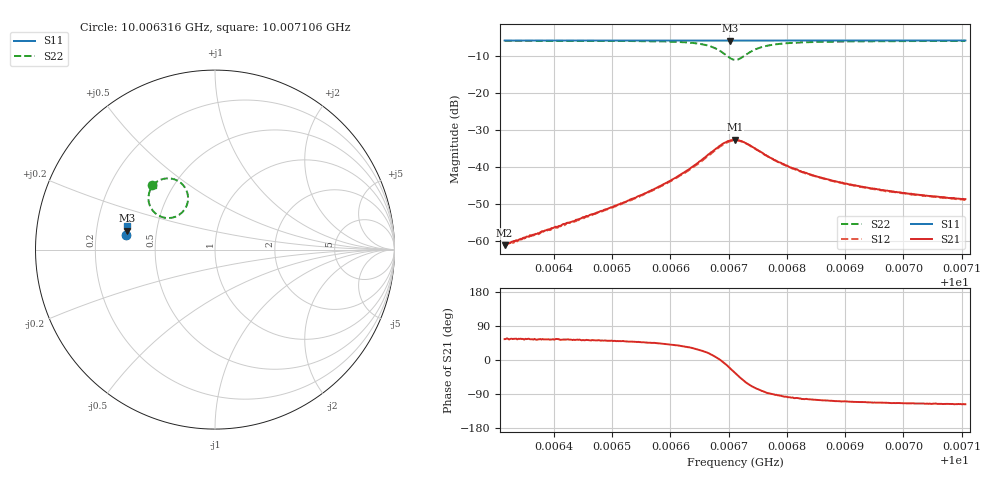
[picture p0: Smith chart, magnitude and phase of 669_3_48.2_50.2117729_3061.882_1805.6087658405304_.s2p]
#  HZ  S  RI  R  50.00
! Rohde & Schwarz Vector Network Analyzer
! Rohde-Schwarz,ZNB20-2Port,1311601062101988,3.16
! Created: UTC 3/20/2024, 12:06:04 PM
! freq[Hz]  re:S11  im:S11  re:S21  im:S21  re:S12  im:S12  re:S22  im:S22
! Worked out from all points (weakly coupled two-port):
!   401 points, 10.006316 GHz to 10.007106 GHz, reference 50 ohm
!   highest |S21| = -32.70 dB at 10.006711 GHz (marker M1); lowest = -61.2 dB at 10.006316 GHz (marker M2)
!   lowest |S11| = -6.0 dB at 10.006703 GHz (marker M3), VSWR 3.02, Z = 16.7 + j4.7 ohm
!   |S11| at or under -10 dB: nowhere
!   |S22| runs from -11.2 to -6.0 dB; largest |S21 - S12| = 0.0019
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1.00063156e10  -0.4974 0.0803  0.000501 0.000718  0.00046 0.000721  -0.3494 0.3575
1.00063314e10  -0.4974 0.0816  0.000562 0.000831  0.00049 0.000818  -0.3482 0.3589
1.0006448e10  -0.4961 0.0891  0.00127 0.00163  0.00114 0.00169  -0.3349 0.3704
1.00065212e10  -0.4953 0.0939  0.00218 0.00254  0.00204 0.00261  -0.3205 0.3804
1.00065805e10  -0.4947 0.098  0.00392 0.00377  0.00363 0.00388  -0.2989 0.3905
1.0006622e10  -0.4939 0.1008  0.0067 0.00486  0.00622 0.00509  -0.2686 0.3968
1.00066596e10  -0.493 0.1034  0.0125 0.00492  0.0119 0.00543  -0.2131 0.3861
1.00066813e10  -0.4918 0.1045  0.0182 0.00143  0.0176 0.0025  -0.166 0.3432
1.00066932e10  -0.4915 0.1049  0.0209 -0.00322  0.0204 -0.00175  -0.1505 0.2945
1.00067031e10  -0.4911 0.1049  0.021 -0.00882  0.0211 -0.00691  -0.1587 0.2438
1.0006711e10  -0.4912 0.1051  0.0192 -0.013  0.0197 -0.0114  -0.1835 0.2071
1.00067189e10  -0.4913 0.1051  0.0158 -0.0162  0.0168 -0.0148  -0.22 0.1835
1.00067288e10  -0.4917 0.1053  0.0111 -0.0178  0.0124 -0.0169  -0.2681 0.176
1.00067426e10  -0.492 0.1062  0.00582 -0.0173  0.0069 -0.0168  -0.3191 0.1926
1.00067564e10  -0.4922 0.1072  0.00234 -0.0155  0.00325 -0.0151  -0.3479 0.2185
1.00067782e10  -0.4924 0.1087  -0.000214 -0.0124  0.000471 -0.0124  -0.3661 0.2539
1.00067999e10  -0.4922 0.1103  -0.00129 -0.0103  -0.000855 -0.0104  -0.3707 0.2789
1.00068434e10  -0.4918 0.1134  -0.00193 -0.00751  -0.00157 -0.00752  -0.3687 0.3088
1.00069027e10  -0.4912 0.1174  -0.00198 -0.00561  -0.00168 -0.00561  -0.3619 0.3301
1.00069759e10  -0.4902 0.1222  -0.00188 -0.00436  -0.00159 -0.00437  -0.3544 0.3452
1.00070411e10  -0.4892 0.1263  -0.00173 -0.00369  -0.00154 -0.00371  -0.3486 0.3538
1.00071064e10  -0.4884 0.1305  -0.00166 -0.00329  -0.00144 -0.0033  -0.3437 0.3607
